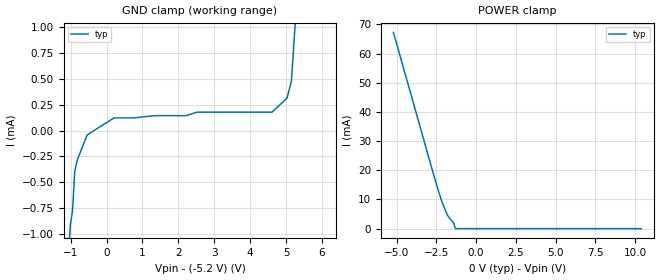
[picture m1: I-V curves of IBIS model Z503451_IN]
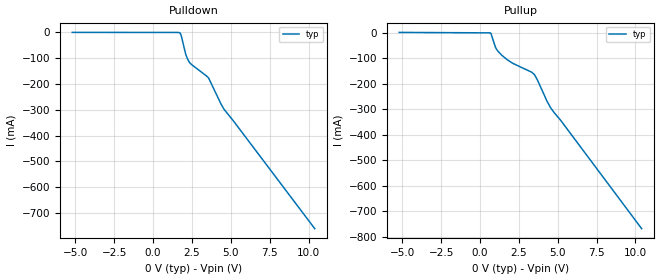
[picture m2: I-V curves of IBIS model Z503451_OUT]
| YOU ARE ONLY AUTHORIZED TO USE THIS SOFTWARE
| ACCORDING TO LICENSOR'S LICENSE RESTRICTIONS.
[IBIS Ver] 3.1
[File Name] mc10h188fn_-52.ibs
[File Rev] 1
[Source] Derived from mc10h164p.ibs measured and
|   created by ICX Technology
[Date] 2/19/2004
[Copyright]
| (C) COPYRIGHT 1993-2000
| MENTOR GRAPHICS CORPORATION
| ICX STANDARD LIBRARY, ICX PROJECT MODELING,
| ICX CUSTOM MODELING, ICX VENDOR MODEL
| ALL RIGHTS RESERVED.
| THE FOLLOWING ARE TRADEMARKS OR SERVICE MARKS OF
| MENTOR GRAPHICS CORPORATION:ICX (R), ICX STANDARD
| LIBRARY(R), ICX PROJECT MODELING(R), ICX CUSTOM
| MODELING(R), qualityIBIS(TM), MODELVIEWER(TM),
| AND MODELEDITOR(TM)
| ALL COPIES OF SOFTWARE, INCLUDING BUT NOT LIMITED TO
| ANY MODIFICATIONS, ENHANCEMENTS OR DERIVATIVE WORKS,
| MUST CONTAIN ALL MENTOR GRAPHICS CORPORATION'S
| NOTICES AND LEGENDS, INCLUDING THOSE EMBEDDED IN
| SOFTWARE AND THOSE AFFIXED TO SOFTWARE MEDIUM
| AND CONTAINER, AS RECEIVED FROM MENTOR GRAPHICS
| CORPORATION.
|  ZAP Model Builder 2.7
[Component] MC10H188FN_-52
[Manufacturer] OnSemiconductor
[Package]
| variable   typ   min   max
R_pkg  .078ohms NA NA
L_pkg  3.58nH NA NA
C_pkg  .884pF NA NA
[Pin] signal_name  model_name  R_pin  L_pin C_pin
1 NC NC
2 VCCI POWER
3 AOUT Z503451_OUT
4 BOUT Z503451_OUT
5 COUT Z503451_OUT
6 NC NC
7 AIN Z503451_IN
8 BIN Z503451_IN
9 CIN Z503451_IN
10 VEE POWER
11 NC NC
12 COMMON Z503451_IN
13 DIN Z503451_IN
14 EIN Z503451_IN
15 FIN Z503451_IN
16 NC NC
17 DOUT Z503451_OUT
18 EOUT Z503451_OUT
19 FOUT Z503451_OUT
20 VCC2 POWER
| Models and submodels in the file (2): Z503451_IN (Input_ECL), Z503451_OUT (Output_ECL)
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| (C) COPYRIGHT 1993-2000
| MENTOR GRAPHICS CORPORATION
| ICX STANDARD LIBRARY, ICX PROJECT MODELING,
| ICX CUSTOM MODELING, ICX VENDOR MODEL
| ALL RIGHTS RESERVED.
| THE FOLLOWING ARE TRADEMARKS OR SERVICE MARKS OF
| MENTOR GRAPHICS CORPORATION:ICX (R), ICX STANDARD
| LIBRARY(R), ICX PROJECT MODELING(R), ICX CUSTOM
| MODELING(R), qualityIBIS(TM), MODELVIEWER(TM),
| AND MODELEDITOR(TM)
| ALL COPIES OF SOFTWARE, INCLUDING BUT NOT LIMITED TO
| ANY MODIFICATIONS, ENHANCEMENTS OR DERIVATIVE WORKS,
| MUST CONTAIN ALL MENTOR GRAPHICS CORPORATION'S
| NOTICES AND LEGENDS, INCLUDING THOSE EMBEDDED IN
| SOFTWARE AND THOSE AFFIXED TO SOFTWARE MEDIUM
| AND CONTAINER, AS RECEIVED FROM MENTOR GRAPHICS
| CORPORATION.
| Model Application Version 1.89 2/18/99.
[Model] Z503451_IN
Model_type Input_ECL
Vinl = -1.480V
Vinh = -1.130V
C_comp 2.000pF NA NA
| variable typ   min   max
[Voltage Range] -5.200V NA NA
[GND Clamp Reference] -5.200V NA NA
[POWER Clamp Reference] 0.000V NA NA
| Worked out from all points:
|   GND clamp passes 1 mA (typ) near -1.03 V on its own axis
|   POWER clamp passes 1 mA (typ) near -1.36 V on its own axis
[GND Clamp]
-5.2V     -13.53mA   NA         NA
-1.206V   -2.057mA   NA         NA
-1.011V   -910.3uA   NA         NA
-947mV    -769uA     NA         NA
-889mV    -395.7uA   NA         NA
-811mV    -277.3uA   NA         NA
-540.7mV  -41.83uA   NA         NA
208mV     121.6uA    NA         NA
4.611V    177.1uA    NA         NA
5.029V    312.4uA    NA         NA
5.151V    477.4uA    NA         NA
10.4V     28.22mA    NA         NA
[POWER Clamp]
-5.2V     67.27mA    NA         NA
-2.51V    15.42mA    NA         NA
-2.202V   10.06mA    NA         NA
-1.885V   5.602mA    NA         NA
-1.792V   4.573mA    NA         NA
-1.65V    3.394mA    NA         NA
-1.416V   2.021mA    NA         NA
-1.307V   0A         NA         NA
10.4V     0A         NA         NA
| (C) COPYRIGHT 1993-2000
| MENTOR GRAPHICS CORPORATION
| ICX STANDARD LIBRARY, ICX PROJECT MODELING,
| ICX CUSTOM MODELING, ICX VENDOR MODEL
| ALL RIGHTS RESERVED.
| THE FOLLOWING ARE TRADEMARKS OR SERVICE MARKS OF
| MENTOR GRAPHICS CORPORATION:ICX (R), ICX STANDARD
| LIBRARY(R), ICX PROJECT MODELING(R), ICX CUSTOM
| MODELING(R), qualityIBIS(TM), MODELVIEWER(TM),
| AND MODELEDITOR(TM)
| ALL COPIES OF SOFTWARE, INCLUDING BUT NOT LIMITED TO
| ANY MODIFICATIONS, ENHANCEMENTS OR DERIVATIVE WORKS,
| MUST CONTAIN ALL MENTOR GRAPHICS CORPORATION'S
| NOTICES AND LEGENDS, INCLUDING THOSE EMBEDDED IN
| SOFTWARE AND THOSE AFFIXED TO SOFTWARE MEDIUM
| AND CONTAINER, AS RECEIVED FROM MENTOR GRAPHICS
| CORPORATION.
| Model Application Version 1.89 2/18/99.
[Model] Z503451_OUT
Model_type Output_ECL
Vref=-2.000V
Rref=50.00ohms
Cref=0.000F
Vmeas=-1.305V
C_comp 2.000pF NA NA
| variable typ   min   max
[Voltage Range] -5.200V NA NA
[POWER Clamp Reference] 0.000V NA NA
[Pullup Reference] 0.000V NA NA
[Pulldown Reference] 0.000V NA NA
[GND Clamp Reference] -5.200V NA NA
[GND Clamp]
-5.2V     0A         NA         NA
10.4V     0A         NA         NA
[Pulldown]
-5.2V     260.1uA    NA         NA
1.719V    -1.583mA   NA         NA
1.812V    -12.61mA   NA         NA
2.09V     -82.62mA   NA         NA
2.193V    -99.77mA   NA         NA
2.319V    -114.3mA   NA         NA
2.506V    -126mA     NA         NA
3.568V    -176.4mA   NA         NA
4.39V     -280.1mA   NA         NA
4.57V     -298.5mA   NA         NA
5.184V    -344.6mA   NA         NA
10.4V     -761.3mA   NA         NA
[Pullup]
-5.2V     1.639mA    NA         NA
703mV     -2.046mA   NA         NA
1.002V    -57.78mA   NA         NA
1.407V    -88.39mA   NA         NA
2.114V    -119.9mA   NA         NA
3.315V    -154.2mA   NA         NA
3.504V    -163.9mA   NA         NA
3.682V    -183.2mA   NA         NA
4.307V    -267.6mA   NA         NA
4.536V    -293.2mA   NA         NA
5.186V    -342.9mA   NA         NA
10.4V     -768.3mA   NA         NA
[POWER Clamp]
-5.2V     0A         NA         NA
10.4V     0A         NA         NA
[Ramp]
| variable typ min max
dV/dt_r 587.6m/539.5p NA NA
dV/dt_f 587.6m/608.1p NA NA
R_load = 50.0Ohms
